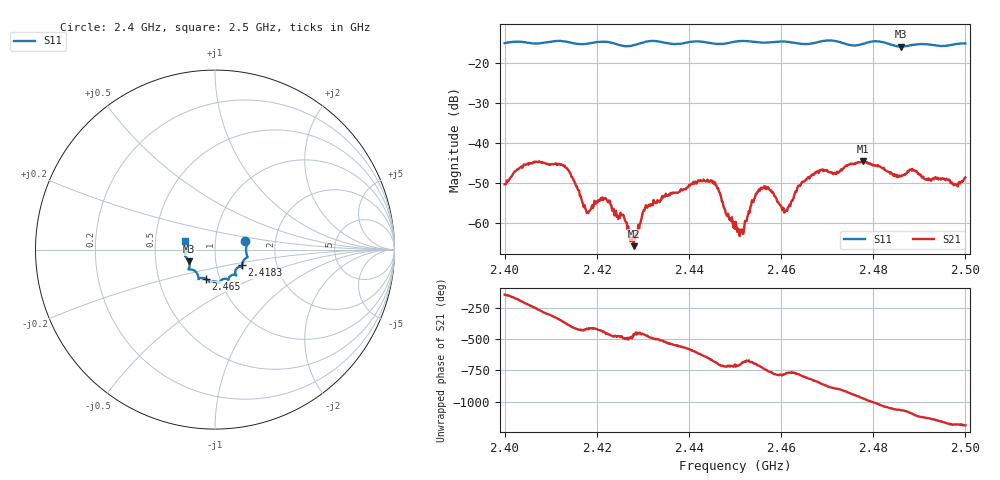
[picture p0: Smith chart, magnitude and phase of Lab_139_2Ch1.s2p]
# Hz S RI R 50
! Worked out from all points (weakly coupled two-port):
!   601 points, 2.4 GHz to 2.5 GHz, reference 50 ohm
!   highest |S21| = -44.59 dB at 2.4778 GHz (marker M1); lowest = -65.9 dB at 2.428 GHz (marker M2)
!   lowest |S11| = -16.0 dB at 2.486 GHz (marker M3), VSWR 1.38, Z = 37.1 - j4.98 ohm
!   |S11| at or under -10 dB: start of sweep to end of sweep
!   S12 and S22 are empty: the file has one direction only
!   S11 on the Smith chart (normalised r, x): 2.4 GHz: 1.40, +0.13; 2.4183 GHz: 1.33, -0.24; 2.465 GHz: 0.86, -0.29; 2.5 GHz: 0.71, +0.07
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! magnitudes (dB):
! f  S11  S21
! 2.4 GHz  -15.1  -50.4
! 2.4045 GHz  -15.0  -45.5
! 2.4122 GHz  -14.6  -45.6
! 2.4167 GHz  -15.4  -54.0
! 2.4183 GHz  -15.2  -57.1
! 2.4223 GHz  -14.8  -54.7
! 2.4257 GHz  -15.8  -58.0
! 2.428 GHz  -15.7  -65.9
! 2.4305 GHz  -14.8  -56.4
! 2.4333 GHz  -14.7  -54.6
! 2.4448 GHz  -15.2  -49.5
! 2.45 GHz  -14.8  -61.6
! 2.4515 GHz  -14.6  -61.7
! 2.4557 GHz  -15.0  -51.3
! 2.4577 GHz  -14.9  -52.0
! 2.4608 GHz  -14.8  -57.5
! 2.465 GHz  -15.4  -49.7
! 2.4667 GHz  -15.2  -48.0
! 2.4778 GHz  -15.3  -44.6
! 2.4833 GHz  -15.3  -47.3
! 2.486 GHz  -16.0  -48.4
! 2.5 GHz  -15.2  -48.7
